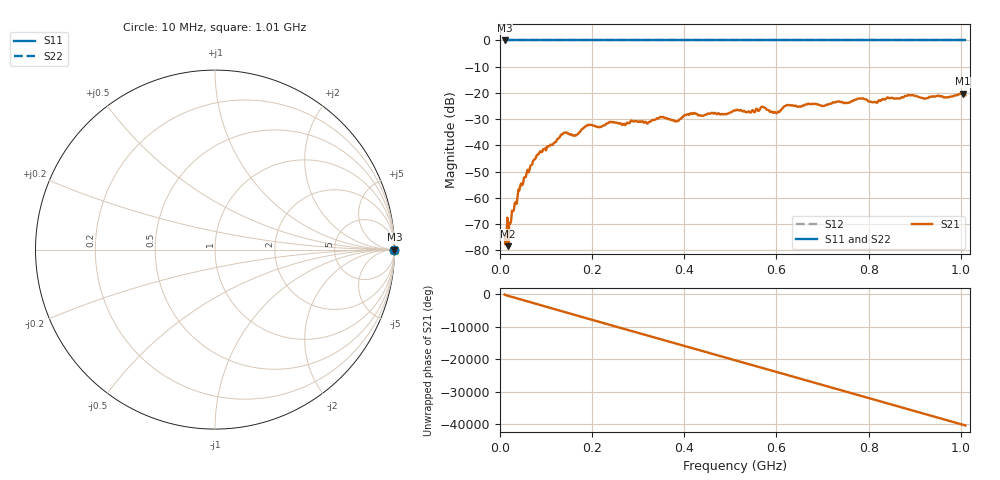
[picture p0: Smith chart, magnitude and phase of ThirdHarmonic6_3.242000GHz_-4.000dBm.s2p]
! 8/17/2025 9:57:12 AM
! C:\ANRITSUVNA\TEMP\TEMP.S2P
! CHANNEL.1
! TR.MEASUREMENT
! RAW.DATA
! RF.CORRECTION.OFF
! AVERAGING.OFF
! IF.BANDWIDTH: 5KHZ
! SWEEPTYPE:  FREQ.SWEEP(Linear)
! Reference Plane Port Info
! PORT:  PORT1  PORT2
! DISTANCE:  0  m  0  m
! TIME:  0  s  0  s
! PHASE.OFFSET:  0  deg.  0  deg.
! LOSS:  0  dB  0  dB
! REF.LOSS:  0  dB  0  dB
! REF.FREQ:  0  Hz  0  Hz
! Power Info
! POWER:  -20  dBm  -20  dBm
! EFF.POWER:  -20  dBm  -20  dBm
! SOURCE.ATTEN:  0  dB  0  dB
! TEST.ATTEN:  0  dB  0  dB
# GHZ S RI R 50.0
! FREQ.GHZ  S11RE  S11IM  S21RE  S21IM  S12RE  S12IM  S22RE  S22IM
!; PortSelection: Port_12
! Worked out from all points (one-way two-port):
!   501 points, 10 MHz to 1.01 GHz, reference 50 ohm
!   highest |S21| = -20.28 dB at 1.004 GHz (marker M1); lowest = -78.4 dB at 18 MHz (marker M2)
!   lowest |S11| = 0.0 dB at 10 MHz (marker M3)
!   |S11| at or under -10 dB: nowhere
!   |S22| runs from 0.0 to 0.0 dB; largest |S21 - S12| = 1.1
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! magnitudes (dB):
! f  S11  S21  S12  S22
! 10 MHz  0.0  -75.4  0.0  0.0
! 18 MHz  0.0  -78.4  0.0  0.0
! 44 MHz  0.0  -55.3  0.0  0.0
! 82 MHz  0.0  -43.4  0.0  0.0
! 136 MHz  0.0  -35.7  0.0  0.0
! 162 MHz  0.0  -36.1  0.0  0.0
! 178 MHz  0.0  -33.7  0.0  0.0
! 194 MHz  0.0  -32.1  0.0  0.0
! 322 MHz  0.0  -31.3  0.0  0.0
! 344 MHz  0.0  -29.7  0.0  0.0
! 382 MHz  0.0  -30.7  0.0  0.0
! 416 MHz  0.0  -28.0  0.0  0.0
! 510 MHz  0.0  -26.7  0.0  0.0
! 570 MHz  0.0  -25.3  0.0  0.0
! 598 MHz  0.0  -27.4  0.0  0.0
! 624 MHz  0.0  -24.6  0.0  0.0
! 678 MHz  0.0  -24.1  0.0  0.0
! 782 MHz  0.0  -22.1  0.0  0.0
! 816 MHz  0.0  -23.6  0.0  0.0
! 844 MHz  0.0  -22.0  0.0  0.0
! 1.004 GHz  0.0  -20.3  0.0  0.0
! 1.01 GHz  0.0  -20.9  0.0  0.0
